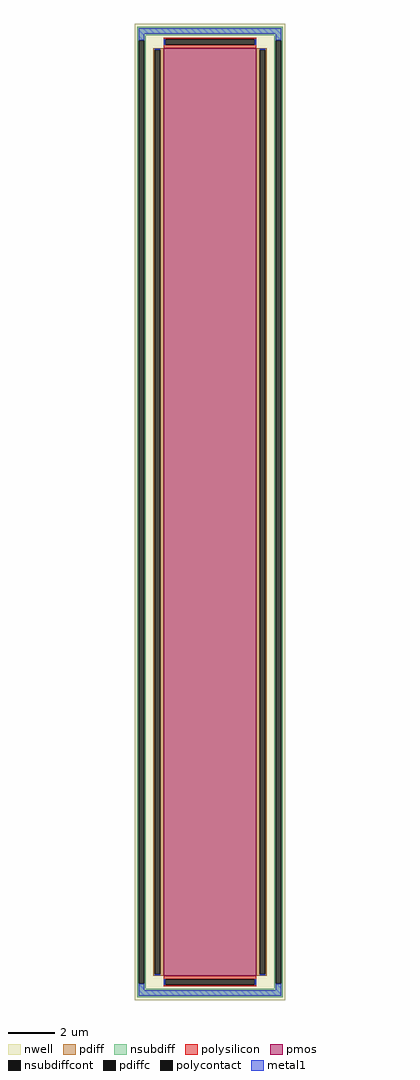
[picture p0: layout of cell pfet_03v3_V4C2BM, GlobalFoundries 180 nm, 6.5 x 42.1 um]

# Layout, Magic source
magic
tech gf180mcuD
magscale 1 10
<< nwell >>
rect -650 -4210 650 4210
<< pmos >>
rect -400 -4000 400 4000
<< pdiff >>
rect -488 3987 -400 4000
rect -488 -3987 -475 3987
rect -429 -3987 -400 3987
rect -488 -4000 -400 -3987
rect 400 3987 488 4000
rect 400 -3987 429 3987
rect 475 -3987 488 3987
rect 400 -4000 488 -3987
<< pdiffc >>
rect -475 -3987 -429 3987
rect 429 -3987 475 3987
<< nsubdiff >>
rect -626 4114 626 4186
rect -626 4070 -554 4114
rect -626 -4070 -613 4070
rect -567 -4070 -554 4070
rect 554 4070 626 4114
rect -626 -4114 -554 -4070
rect 554 -4070 567 4070
rect 613 -4070 626 4070
rect 554 -4114 626 -4070
rect -626 -4186 626 -4114
<< nsubdiffcont >>
rect -613 -4070 -567 4070
rect 567 -4070 613 4070
<< polysilicon >>
rect -400 4079 400 4092
rect -400 4033 -387 4079
rect 387 4033 400 4079
rect -400 4000 400 4033
rect -400 -4033 400 -4000
rect -400 -4079 -387 -4033
rect 387 -4079 400 -4033
rect -400 -4092 400 -4079
<< polycontact >>
rect -387 4033 387 4079
rect -387 -4079 387 -4033
<< metal1 >>
rect -613 4127 613 4173
rect -613 4070 -567 4127
rect -398 4033 -387 4079
rect 387 4033 398 4079
rect 567 4070 613 4127
rect -475 3987 -429 3998
rect -475 -3998 -429 -3987
rect 429 3987 475 3998
rect 429 -3998 475 -3987
rect -613 -4127 -567 -4070
rect -398 -4079 -387 -4033
rect 387 -4079 398 -4033
rect 567 -4127 613 -4070
rect -613 -4173 613 -4127
<< properties >>
string FIXED_BBOX -590 -4150 590 4150
string gencell pfet_03v3
string library gf180mcu
string parameters w 40 l 4 m 1 nf 1 diffcov 100 polycov 100 guard 1 glc 1 grc 1 gtc 0 gbc 0 tbcov 100 rlcov 100 topc 1 botc 1 poverlap 0 doverlap 1 lmin 0.28 wmin 0.22 class mosfet full_metal 1 compatible {pfet_03v3 pfet_05v0 pfet_06v0}
<< end >>
